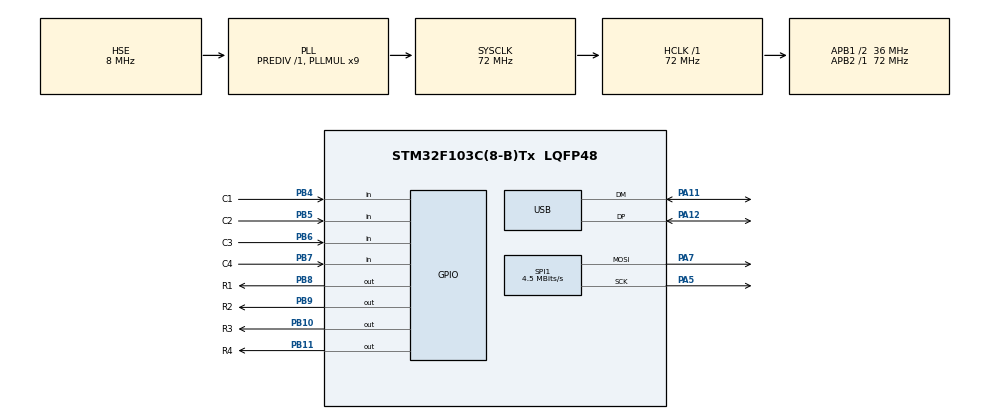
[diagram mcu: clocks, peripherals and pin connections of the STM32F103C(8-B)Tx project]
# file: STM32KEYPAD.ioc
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Dma.Request0=SPI1_TX
Dma.SPI1_TX.0.Direction=DMA_MEMORY_TO_PERIPH
Dma.SPI1_TX.0.Instance=DMA1_Channel3
Dma.SPI1_TX.0.MemDataAlignment=DMA_MDATAALIGN_BYTE
Dma.SPI1_TX.0.MemInc=DMA_MINC_ENABLE
Dma.SPI1_TX.0.Mode=DMA_NORMAL
Dma.SPI1_TX.0.PeriphDataAlignment=DMA_PDATAALIGN_BYTE
Dma.SPI1_TX.0.PeriphInc=DMA_PINC_DISABLE
Dma.SPI1_TX.0.Priority=DMA_PRIORITY_LOW
Mcu.Family=STM32F1
Mcu.Name=STM32F103C(8-B)Tx
Mcu.Package=LQFP48
NVIC.DMA1_Channel3_IRQn=true\:0\:0\:false\:false\:true\:false\:true\:true
NVIC.PriorityGroup=NVIC_PRIORITYGROUP_4
NVIC.USB_LP_CAN1_RX0_IRQn=true\:0\:0\:false\:false\:true\:false\:true\:true
PA11.Mode=Device
PA11.Signal=USB_DM
PA12.Mode=Device
PA12.Signal=USB_DP
PA13.Mode=Serial_Wire
PA13.Signal=SYS_JTMS-SWDIO
PA14.Mode=Serial_Wire
PA14.Signal=SYS_JTCK-SWCLK
PA5.Mode=TX_Only_Simplex_Unidirect_Master
PA5.Signal=SPI1_SCK
PA7.Mode=TX_Only_Simplex_Unidirect_Master
PA7.Signal=SPI1_MOSI
PB10.GPIO_Label=R3
PB10.GPIO_Speed=GPIO_SPEED_FREQ_HIGH
PB10.Signal=GPIO_Output
PB11.GPIO_Label=R4
PB11.GPIO_Speed=GPIO_SPEED_FREQ_HIGH
PB11.Signal=GPIO_Output
PB4.GPIO_Label=C1
PB4.GPIO_PuPd=GPIO_PULLDOWN
PB4.Signal=GPIO_Input
PB5.GPIO_Label=C2
PB5.GPIO_PuPd=GPIO_PULLDOWN
PB5.Signal=GPIO_Input
PB6.GPIO_Label=C3
PB6.GPIO_PuPd=GPIO_PULLDOWN
PB6.Signal=GPIO_Input
PB7.GPIO_Label=C4
PB7.GPIO_PuPd=GPIO_PULLDOWN
PB7.Signal=GPIO_Input
PB8.GPIO_Label=R1
PB8.GPIO_Speed=GPIO_SPEED_FREQ_HIGH
PB8.Signal=GPIO_Output
PB9.GPIO_Label=R2
PB9.GPIO_Speed=GPIO_SPEED_FREQ_HIGH
PB9.Signal=GPIO_Output
PD0-OSC_IN.Mode=HSE-External-Oscillator
PD0-OSC_IN.Signal=RCC_OSC_IN
PD1-OSC_OUT.Mode=HSE-External-Oscillator
PD1-OSC_OUT.Signal=RCC_OSC_OUT
ProjectManager.HeapSize=0x200
ProjectManager.StackSize=0x400
ProjectManager.TargetToolchain=Makefile
RCC.AHBFreq_Value=72000000
RCC.APB1CLKDivider=RCC_HCLK_DIV2
RCC.APB1Freq_Value=36000000
RCC.APB1TimFreq_Value=72000000
RCC.APB2Freq_Value=72000000
RCC.APB2TimFreq_Value=72000000
RCC.HCLKFreq_Value=72000000
RCC.PLLMUL=RCC_PLL_MUL9
RCC.SYSCLKFreq_VALUE=72000000
RCC.SYSCLKSource=RCC_SYSCLKSOURCE_PLLCLK
RCC.USBFreq_Value=48000000
RCC.USBPrescaler=RCC_USBCLKSOURCE_PLL_DIV1_5
SPI1.BaudRatePrescaler=SPI_BAUDRATEPRESCALER_16
SPI1.CalculateBaudRate=4.5 MBits/s
SPI1.Direction=SPI_DIRECTION_2LINES
SPI1.Mode=SPI_MODE_MASTER
SPI1.VirtualType=VM_MASTER
USB_DEVICE.CLASS_NAME_FS=HID
USB_DEVICE.PRODUCT_STRING_HID_FS=KAZAK_EYPAD
USB_DEVICE.VirtualMode=Hid
USB_DEVICE.VirtualModeFS=Hid_FS
VP_USB_DEVICE_VS_USB_DEVICE_HID_FS.Mode=HID_FS
board=custom

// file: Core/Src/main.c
/* USER CODE BEGIN Header */
/**
 ******************************************************************************
 * @file           : main.c
 * @brief          : Main program body
 ******************************************************************************
 * @attention
 *
 * Copyright (c) 2024 STMicroelectronics.
 * All rights reserved.
 *
 * This software is licensed under terms that can be found in the LICENSE file
 * in the root directory of this software component.
 * If no LICENSE file comes with this software, it is provided AS-IS.
 *
 ******************************************************************************
 */
/* USER CODE END Header */
#include "main.h"
#include "dma.h"
#include "spi.h"
#include "usb_device.h"
#include "gpio.h"

/* USER CODE BEGIN Includes */
#include "usbd_hid.h"
#include "key.h"
#include "ws_driver.h"

/* USER CODE END Includes */

/* USER CODE BEGIN PD */
#define KEY_NUM 15

#define default_color ws_color(255, 0, 255)
#define default_color2 ws_color(0, 255, 0)
/* USER CODE END PD */

void SystemClock_Config(void);

/* USER CODE BEGIN 0 */
//! [code_main]

//! ws2812b
extern PIXEL_TypeDef PIXEL[PIXEL_NUMS];

void show_handler(uint8_t *ws_buffer)
{
  HAL_SPI_Transmit_DMA(&hspi1, ws_buffer, PIXEL_NUMS * PIXEL_BITS_NUMS);
  HAL_Delay(1);
}

//! usb
extern USBD_HandleTypeDef hUsbDeviceFS;

typedef struct
{
  uint8_t MODIFIER;
  uint8_t RESERVED;
  uint8_t KEYCODE1;
  uint8_t KEYCODE2;
  uint8_t KEYCODE3;
  uint8_t KEYCODE4;
  uint8_t KEYCODE5;
  uint8_t KEYCODE6;
} keyboardHID_t;

keyboardHID_t keyboardHID = {0, 0, 0, 0, 0, 0, 0, 0};

int KEY_LAYER = 0;
uint8_t modify_buff = 0x00;

KEY_MAP key_map[KEY_NUM] = {
    {keypad_7}, {keypad_8}, {keypad_9}, {keypad_minus}, {keypad_4}, {keypad_5}, {keypad_6}, {keypad_plus}, {keypad_1}, {keypad_2}, {keypad_3}, {keypad_enter}, {keypad_dot}, {keypad_0}, {FN_KEY}};

KEY_MAP key_map_layer1[KEY_NUM] = {
    {keypad_ESC}, {keypad_8}, {keypad_Delete}, {keypad_divide}, {keypad_4}, {keypad_5}, {keypad_6}, {keypad_multiply}, {keypad_1}, {keypad_2}, {keypad_3}, {keypad_enter}, {keypad_dot}, {keypad_0}, {FN_KEY}};

KEY_typedef KEYPAD[KEY_NUM];

void key_handler(int i)
{
  if (i == 14)
  {
    KEY_LAYER = 1;
    for (int i = 0; i < PIXEL_NUMS; i++)
    {
      ws_setPixelColor(i, default_color2);
    }
  }
  // else if (i == 12 && KEY_LAYER == 1)
  // {
  //   modify_buff |= 0x10;
  //   keyboardHID.MODIFIER = modify_buff;
  // }
  // else if (i == 10 && KEY_LAYER == 1)
  // {
  //   modify_buff |= 0x80;
  //   keyboardHID.MODIFIER = modify_buff;
  // }
  // else if (i == 13 && KEY_LAYER == 1)
  // {
  //   modify_buff |= 0x20;
  //   keyboardHID.MODIFIER = modify_buff;
  // }
  else
  {
    KEYPAD[i].buffer_index = find_buff_emtpy_index(&keyboardHID, 8);

    if (KEY_LAYER == 0)
    {
      if (KEYPAD[i].buffer_index != -1)
      {
        key_buffer_insert(KEYPAD[i].buffer_index, i, &key_map, &keyboardHID);
      }
    }
    else if (KEY_LAYER == 1)
    {

      if (KEYPAD[i].buffer_index != -1)
      {
        key_buffer_insert(KEYPAD[i].buffer_index, i, &key_map_layer1, &keyboardHID);
      }
    }
  }
}

void key_handler_release(int i)
{
  if (i == 14)
  {
    KEY_LAYER = 0;
    for (int i = 0; i < PIXEL_NUMS; i++)
    {
      ws_setPixelColor(i, default_color);
    }
  }
  // else if (i == 10 && KEY_LAYER == 1)
  // {
  //   modify_buff &= 0x7F;
  //   keyboardHID.MODIFIER = modify_buff;
  // }
  // else if (i == 12 && KEY_LAYER == 1)
  // {
  //   modify_buff &= 0xEF;
  //   keyboardHID.MODIFIER = modify_buff;
  // }
  // else if (i == 13 && KEY_LAYER == 1)
  // {
  //   modify_buff &= 0xDF;
  //   keyboardHID.MODIFIER = modify_buff;
  // }
  else
  {
    remove_buff(KEYPAD[i].buffer_index, &keyboardHID);
    KEYPAD[i].buffer_index = -1;
  }
}

/* USER CODE END 0 */

int main(void)
{

  /* MCU Configuration--------------------------------------------------------*/

  /* Reset of all peripherals, Initializes the Flash interface and the Systick. */
  HAL_Init();

  /* Configure the system clock */
  SystemClock_Config();

  /* Initialize all configured peripherals */
  MX_GPIO_Init();
  MX_DMA_Init();
  MX_SPI1_Init();
  MX_USB_DEVICE_Init();
  /* USER CODE BEGIN 2 */
  KEY_INIT(KEY_NUM, KEYPAD, key_map);

  ws_clearAll();
  ws_show();
  ws_setBrightness(50);
  for (int i = 0; i < PIXEL_NUMS; i++)
  {
    ws_setPixelColor(i, default_color);
  }
  ws_pixel_to_buffer();
  ws_show();

  /* USER CODE END 2 */

  /* Infinite loop */
  while (1)
  {

    /* USER CODE BEGIN 3 */

    USBD_HID_SendReport(&hUsbDeviceFS, (uint8_t *)&keyboardHID, sizeof(keyboardHID));

    key_scan(&KEYPAD);
    ws_pixel_to_buffer();
    ws_show();
  }
  /* USER CODE END 3 */
}

void SystemClock_Config(void)
{
  RCC_OscInitTypeDef RCC_OscInitStruct = {0};
  RCC_ClkInitTypeDef RCC_ClkInitStruct = {0};
  RCC_PeriphCLKInitTypeDef PeriphClkInit = {0};

  /** Initializes the RCC Oscillators according to the specified parameters
   * in the RCC_OscInitTypeDef structure.
   */
  RCC_OscInitStruct.OscillatorType = RCC_OSCILLATORTYPE_HSE;
  RCC_OscInitStruct.HSEState = RCC_HSE_ON;
  RCC_OscInitStruct.HSEPredivValue = RCC_HSE_PREDIV_DIV1;
  RCC_OscInitStruct.HSIState = RCC_HSI_ON;
  RCC_OscInitStruct.PLL.PLLState = RCC_PLL_ON;
  RCC_OscInitStruct.PLL.PLLSource = RCC_PLLSOURCE_HSE;
  RCC_OscInitStruct.PLL.PLLMUL = RCC_PLL_MUL9;
  if (HAL_RCC_OscConfig(&RCC_OscInitStruct) != HAL_OK)
  {
    Error_Handler();
  }

  /** Initializes the CPU, AHB and APB buses clocks
   */
  RCC_ClkInitStruct.ClockType = RCC_CLOCKTYPE_HCLK | RCC_CLOCKTYPE_SYSCLK | RCC_CLOCKTYPE_PCLK1 | RCC_CLOCKTYPE_PCLK2;
  RCC_ClkInitStruct.SYSCLKSource = RCC_SYSCLKSOURCE_PLLCLK;
  RCC_ClkInitStruct.AHBCLKDivider = RCC_SYSCLK_DIV1;
  RCC_ClkInitStruct.APB1CLKDivider = RCC_HCLK_DIV2;
  RCC_ClkInitStruct.APB2CLKDivider = RCC_HCLK_DIV1;

  if (HAL_RCC_ClockConfig(&RCC_ClkInitStruct, FLASH_LATENCY_2) != HAL_OK)
  {
    Error_Handler();
  }
  PeriphClkInit.PeriphClockSelection = RCC_PERIPHCLK_USB;
  PeriphClkInit.UsbClockSelection = RCC_USBCLKSOURCE_PLL_DIV1_5;
  if (HAL_RCCEx_PeriphCLKConfig(&PeriphClkInit) != HAL_OK)
  {
    Error_Handler();
  }
}

void Error_Handler(void)
{
  __disable_irq();
  while (1)
  {
  }
}
